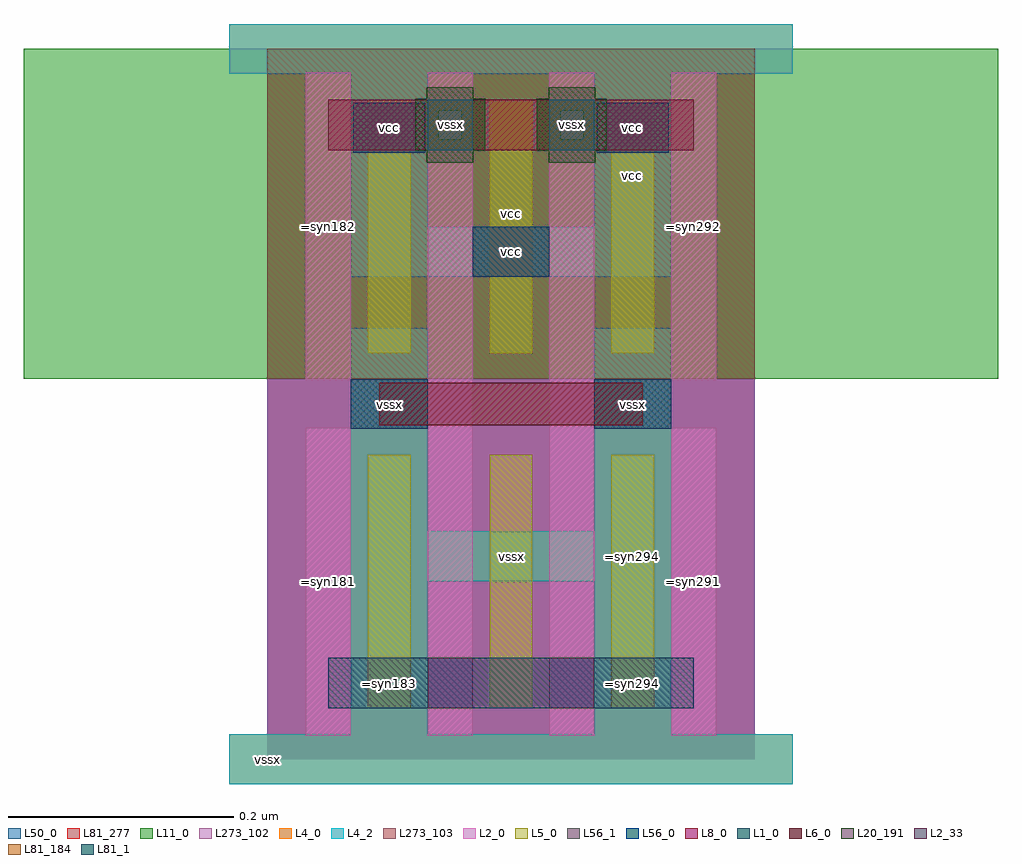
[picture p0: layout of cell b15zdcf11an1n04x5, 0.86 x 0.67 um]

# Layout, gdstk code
import gdstk
lib = gdstk.Library(unit=1e-6, precision=5e-10)
def R(c, l, rs):  # rectangles x0, y0, x1, y1
    for r in rs: c.add(gdstk.rectangle(r[:2], r[2:], *l))
def A(c, l, x, y, w, h, nx, ny, dx, dy):  # array of equal rectangles
    R(c, l, [(x+i*dx, y+j*dy, x+i*dx+w, y+j*dy+h) for i in range(nx) for j in range(ny)])
def P(c, l, *ps):  # polygons
    for p in ps: c.add(gdstk.Polygon(p, *l))
L1_0 = (1, 0)
L2_0 = (2, 0)
L2_33 = (2, 33)
L4_0 = (4, 0)
L4_2 = (4, 2)
L5_0 = (5, 0)
L6_0 = (6, 0)
L8_0 = (8, 0)
L11_0 = (11, 0)
L20_191 = (20, 191)
L50_0 = (50, 0)
L56_0 = (56, 0)
L56_1 = (56, 1)
L81_1 = (81, 1)
L81_184 = (81, 184)
L81_277 = (81, 277)
L273_102 = (273, 102)
L273_103 = (273, 103)

b15zdcf11an1n04x5 = lib.new_cell('b15zdcf11an1n04x5')
R(b15zdcf11an1n04x5, L1_0, [(0.054,0.045,0.378,0.09)])
R(b15zdcf11an1n04x5, L2_0, [(0.034,0.021,0.074,0.294), (0.142,0.021,0.182,0.609), (0.25,0.021,0.29,0.609), (0.358,0.021,0.398,0.294), (0.034,0.336,0.074,0.609), (0.358,0.336,0.398,0.609)])
R(b15zdcf11an1n04x5, L2_33, [(0.142,0.045,0.182,0.09), (0.25,0.045,0.29,0.09)])
P(b15zdcf11an1n04x5, L4_0, [(0.466,0.608),(0.358,0.608),(0.358,0.428),(0.142,0.428),(0.142,0.472),(0.29,0.472),(0.29,0.608),(0.142,0.608),(0.142,0.652),(0.466,0.652)],
  [(0.142,0.428),(0.074,0.428),(0.074,0.608),(-0.034,0.608),(-0.034,0.652),(0.142,0.652)],
  [(0.466,-0.022),(0.142,-0.022),(0.142,0.022),(0.29,0.022),(0.29,0.158),(0.142,0.158),(0.142,0.202),(0.29,0.202),(0.29,0.382),(0.358,0.382),(0.358,0.022),(0.466,0.022)],
  [(0.142,-0.022),(-0.034,-0.022),(-0.034,0.022),(0.074,0.022),(0.074,0.382),(0.142,0.382)])
P(b15zdcf11an1n04x5, L4_2, [(0.466,0.608),(0.358,0.608),(0.358,0.428),(0.142,0.428),(0.142,0.472),(0.29,0.472),(0.29,0.608),(0.142,0.608),(0.142,0.652),(0.466,0.652)],
  [(0.142,0.428),(0.074,0.428),(0.074,0.608),(-0.034,0.608),(-0.034,0.652),(0.142,0.652)],
  [(0.466,-0.022),(0.142,-0.022),(0.142,0.022),(0.29,0.022),(0.29,0.158),(0.142,0.158),(0.142,0.202),(0.29,0.202),(0.29,0.382),(0.358,0.382),(0.358,0.022),(0.466,0.022)],
  [(0.142,-0.022),(-0.034,-0.022),(-0.034,0.022),(0.074,0.022),(0.074,0.382),(0.142,0.382)])
A(b15zdcf11an1n04x5, L5_0, 0.089, 0.045, 0.038, 0.225, 3, 2, 0.108, 0.315)
R(b15zdcf11an1n04x5, L6_0, [(0.099,0.296,0.333,0.334)])
R(b15zdcf11an1n04x5, L8_0, [(0.054,0.54,0.378,0.585)])
R(b15zdcf11an1n04x5, L11_0, [(-0.216,0.3375,0.648,0.63)])
P(b15zdcf11an1n04x5, L20_191, [(0.193,0.55),(0.172,0.55),(0.172,0.575),(0.152,0.575),(0.152,0.55),(0.131,0.55),(0.131,0.5855),(0.1415,0.5855),(0.1415,0.596),(0.1825,0.596),(0.1825,0.5855),(0.193,0.5855)],
  [(0.193,0.5395),(0.1825,0.5395),(0.1825,0.529),(0.1415,0.529),(0.1415,0.5395),(0.131,0.5395),(0.131,0.55),(0.193,0.55)],
  [(0.301,0.55),(0.28,0.55),(0.28,0.575),(0.26,0.575),(0.26,0.55),(0.239,0.55),(0.239,0.5855),(0.2495,0.5855),(0.2495,0.596),(0.2905,0.596),(0.2905,0.5855),(0.301,0.5855)],
  [(0.301,0.5395),(0.2905,0.5395),(0.2905,0.529),(0.2495,0.529),(0.2495,0.5395),(0.239,0.5395),(0.239,0.55),(0.301,0.55)])
R(b15zdcf11an1n04x5, L50_0, [(0,0,0.432,0.63)])
R(b15zdcf11an1n04x5, L56_0, [(0.074,0.293,0.142,0.337), (0.29,0.293,0.358,0.337), (0.182,0.428,0.25,0.472), (0.076,0.538,0.14,0.582), (0.292,0.538,0.356,0.582)])
R(b15zdcf11an1n04x5, L56_1, [(0.074,0.293,0.142,0.337), (0.29,0.293,0.358,0.337), (0.182,0.428,0.25,0.472), (0.076,0.538,0.14,0.582), (0.292,0.538,0.356,0.582)])
R(b15zdcf11an1n04x5, L81_1, [(0.142,0.54,0.182,0.585), (0.25,0.54,0.29,0.585)])
R(b15zdcf11an1n04x5, L81_184, [(0.142,0.54,0.182,0.585), (0.25,0.54,0.29,0.585)])
R(b15zdcf11an1n04x5, L81_277, [(0,0,0.432,0.63)])
R(b15zdcf11an1n04x5, L273_102, [(0,0,0.432,0.3375)])
R(b15zdcf11an1n04x5, L273_103, [(0,0.3375,0.432,0.63)])
b15zdcf11an1n04x5.add(gdstk.Label('vssx', (0,0), layer=81, texttype=6))
b15zdcf11an1n04x5.add(gdstk.Label('vcc', (0.108,0.56), layer=56, texttype=1))
b15zdcf11an1n04x5.add(gdstk.Label('vssx', (0.108,0.315), layer=56, texttype=1))
b15zdcf11an1n04x5.add(gdstk.Label('vcc', (0.216,0.45), layer=56, texttype=1))
b15zdcf11an1n04x5.add(gdstk.Label('vcc', (0.324,0.56), layer=56, texttype=1))
b15zdcf11an1n04x5.add(gdstk.Label('vssx', (0.324,0.315), layer=56, texttype=1))
b15zdcf11an1n04x5.add(gdstk.Label('vcc', (0.216,0.484), layer=11, texttype=0))
b15zdcf11an1n04x5.add(gdstk.Label('vcc', (0.108,0.5625), layer=8, texttype=0))
b15zdcf11an1n04x5.add(gdstk.Label('vcc', (0.216,0.45), layer=4, texttype=0))
b15zdcf11an1n04x5.add(gdstk.Label('vssx', (0.324,0.315), layer=4, texttype=0))
b15zdcf11an1n04x5.add(gdstk.Label('vcc', (0.324,0.518), layer=4, texttype=2))
b15zdcf11an1n04x5.add(gdstk.Label('vssx', (0.216,0.18), layer=4, texttype=2))
b15zdcf11an1n04x5.add(gdstk.Label('=syn182', (0.054,0.4725), layer=2, texttype=0))
b15zdcf11an1n04x5.add(gdstk.Label('=syn181', (0.054,0.1575), layer=2, texttype=0))
b15zdcf11an1n04x5.add(gdstk.Label('vssx', (0.162,0.5625), layer=2, texttype=0))
b15zdcf11an1n04x5.add(gdstk.Label('vssx', (0.27,0.5625), layer=2, texttype=0))
b15zdcf11an1n04x5.add(gdstk.Label('=syn292', (0.378,0.4725), layer=2, texttype=0))
b15zdcf11an1n04x5.add(gdstk.Label('=syn291', (0.378,0.1575), layer=2, texttype=0))
b15zdcf11an1n04x5.add(gdstk.Label('=syn294', (0.324,0.0675), layer=1, texttype=0))
b15zdcf11an1n04x5.add(gdstk.Label('vssx', (0.324,0.315), layer=6, texttype=0))
b15zdcf11an1n04x5.add(gdstk.Label('vcc', (0.108,0.5625), layer=5, texttype=0))
b15zdcf11an1n04x5.add(gdstk.Label('=syn183', (0.108,0.0675), layer=5, texttype=0))
b15zdcf11an1n04x5.add(gdstk.Label('vcc', (0.216,0.45), layer=5, texttype=0))
b15zdcf11an1n04x5.add(gdstk.Label('=syn293', (0.216,0.18), layer=5, texttype=0))
b15zdcf11an1n04x5.add(gdstk.Label('vcc', (0.324,0.56), layer=5, texttype=0))
b15zdcf11an1n04x5.add(gdstk.Label('=syn294', (0.324,0.18), layer=5, texttype=0))

lib.write_gds('b15zdcf11an1n04x5.gds')
